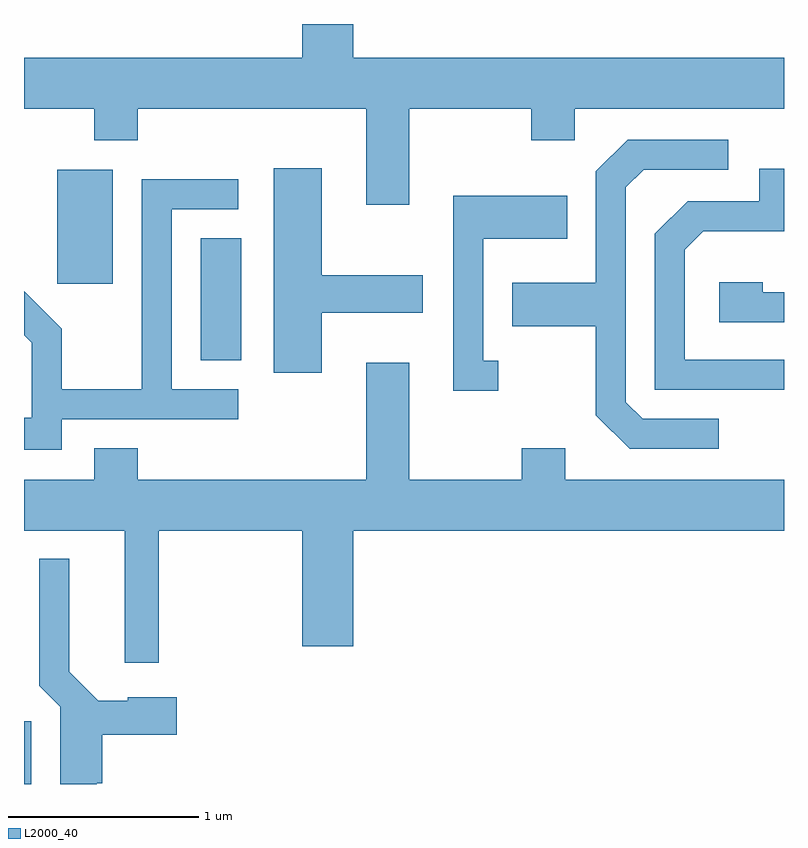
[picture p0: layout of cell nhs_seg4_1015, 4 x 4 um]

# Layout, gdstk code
import gdstk
lib = gdstk.Library(unit=1e-6, precision=1e-09)
def R(c, l, rs):  # rectangles x0, y0, x1, y1
    for r in rs: c.add(gdstk.rectangle(r[:2], r[2:], *l))
def P(c, l, *ps):  # polygons
    for p in ps: c.add(gdstk.Polygon(p, *l))
L2000_40 = (2000, 40)

nhs_seg4_1015 = lib.new_cell('nhs_seg4_1015')
R(nhs_seg4_1015, L2000_40, [(213.611,1379.982,213.649,1380.313), (214.541,1382.211,214.754,1382.854), (213.786,1382.616,214.079,1383.214)])
P(nhs_seg4_1015, L2000_40, [(215.639,1383.536),(216.281,1383.536),(216.281,1383.371),(216.509,1383.371),(216.509,1383.536),(217.611,1383.536),(217.611,1383.804),(215.344,1383.804),(215.344,1383.982),(215.076,1383.982),(215.076,1383.804),(213.611,1383.804),(213.611,1383.536),(213.981,1383.536),(213.981,1383.371),(214.209,1383.371),(214.209,1383.536),(215.411,1383.536),(215.411,1383.031),(215.639,1383.031)],
  [(217.268,1381.904),(216.867,1381.904),(216.779,1381.992),(216.779,1383.124),(216.872,1383.216),(217.318,1383.216),(217.318,1383.374),(216.789,1383.374),(216.621,1383.207),(216.621,1382.619),(216.181,1382.619),(216.181,1382.391),(216.621,1382.391),(216.621,1381.924),(216.799,1381.746),(217.268,1381.746)],
  [(215.179,1382.461),(215.709,1382.461),(215.709,1382.659),(215.179,1382.659),(215.179,1383.224),(214.926,1383.224),(214.926,1382.146),(215.179,1382.146)],
  [(217.611,1382.214),(217.089,1382.214),(217.089,1382.794),(217.187,1382.891),(217.611,1382.891),(217.611,1383.219),(217.481,1383.219),(217.481,1383.049),(217.104,1383.049),(216.931,1382.877),(216.931,1382.056),(217.611,1382.056)],
  [(213.809,1381.901),(214.738,1381.901),(214.738,1382.059),(214.389,1382.059),(214.389,1383.006),(214.738,1383.006),(214.738,1383.164),(214.231,1383.164),(214.231,1382.059),(213.809,1382.059),(213.809,1382.377),(213.611,1382.575),(213.611,1382.344),(213.651,1382.304),(213.651,1381.909),(213.611,1381.909),(213.611,1381.741),(213.809,1381.741)],
  [(216.108,1382.209),(216.029,1382.209),(216.029,1382.851),(216.469,1382.851),(216.469,1383.079),(215.871,1383.079),(215.871,1382.051),(216.108,1382.051)],
  [(217.611,1382.569),(217.499,1382.569),(217.499,1382.624),(217.271,1382.624),(217.271,1382.411),(217.611,1382.411)],
  [(214.319,1381.316),(215.076,1381.316),(215.076,1380.706),(215.344,1380.706),(215.344,1381.316),(217.611,1381.316),(217.611,1381.584),(216.459,1381.584),(216.459,1381.749),(216.231,1381.749),(216.231,1381.584),(215.639,1381.584),(215.639,1382.199),(215.411,1382.199),(215.411,1381.584),(214.209,1381.584),(214.209,1381.749),(213.981,1381.749),(213.981,1381.584),(213.611,1381.584),(213.611,1381.316),(214.141,1381.316),(214.141,1380.621),(214.319,1380.621)],
  [(213.994,1379.986),(214.024,1379.986),(214.024,1380.241),(214.414,1380.241),(214.414,1380.439),(214.156,1380.439),(214.156,1380.419),(214.002,1380.419),(213.849,1380.572),(213.849,1381.168),(213.691,1381.168),(213.691,1380.499),(213.801,1380.389),(213.801,1379.982),(213.994,1379.982)])

lib.write_gds('nhs_seg4_1015.gds')
